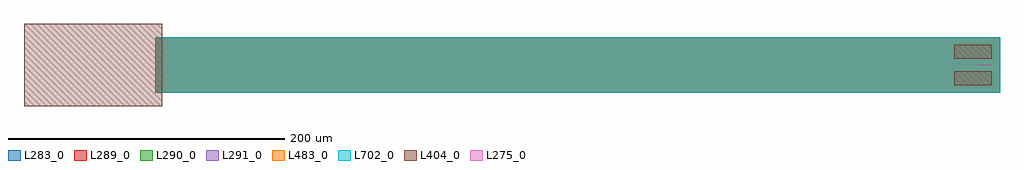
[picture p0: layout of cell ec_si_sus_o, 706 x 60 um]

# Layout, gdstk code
import gdstk
lib = gdstk.Library(unit=1e-6, precision=1e-09)
def R(c, l, rs):  # rectangles x0, y0, x1, y1
    for r in rs: c.add(gdstk.rectangle(r[:2], r[2:], *l))
L275_0 = (275, 0)
L283_0 = (283, 0)
L289_0 = (289, 0)
L290_0 = (290, 0)
L291_0 = (291, 0)
L404_0 = (404, 0)
L483_0 = (483, 0)
L702_0 = (702, 0)

ec_si_sus_o = lib.new_cell('ec_si_sus_o')
R(ec_si_sus_o, L275_0, [(690,11.012,700,11.422)])
R(ec_si_sus_o, L283_0, [(95,-8.783,706,31.217)])
R(ec_si_sus_o, L289_0, [(95,-8.783,706,31.217)])
R(ec_si_sus_o, L290_0, [(95,-8.783,706,31.217)])
R(ec_si_sus_o, L291_0, [(95,-8.783,706,31.217)])
R(ec_si_sus_o, L404_0, [(0,-18.783,100,41.217), (673,-3.283,700,6.717), (673,15.717,700,25.717)])
R(ec_si_sus_o, L483_0, [(95,-8.783,706,31.217)])
R(ec_si_sus_o, L702_0, [(95,-8.783,706,31.217)])

lib.write_gds('ec_si_sus_o.gds')
